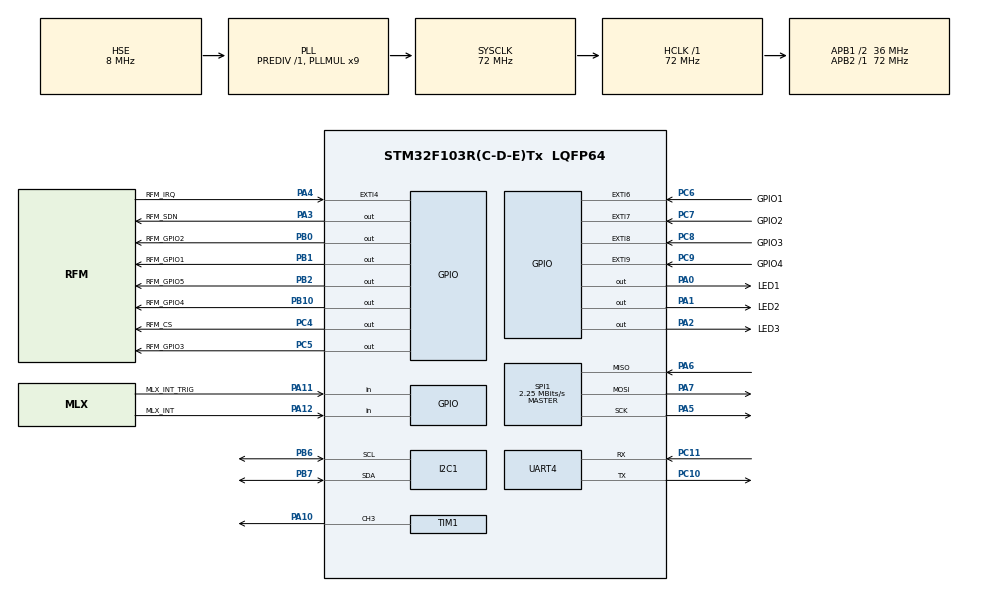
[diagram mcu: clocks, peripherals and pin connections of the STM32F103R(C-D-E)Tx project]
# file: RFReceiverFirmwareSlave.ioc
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I2C1.OwnAddress=0x14
Mcu.Family=STM32F1
Mcu.Name=STM32F103R(C-D-E)Tx
Mcu.Package=LQFP64
NVIC.EXTI4_IRQn=true\:0\:0\:false\:false\:true\:true\:true\:true
NVIC.EXTI9_5_IRQn=true\:0\:0\:false\:false\:true\:true\:true\:true
NVIC.I2C1_ER_IRQn=true\:0\:0\:false\:false\:true\:true\:true\:true
NVIC.I2C1_EV_IRQn=true\:0\:0\:false\:false\:true\:true\:true\:true
NVIC.PriorityGroup=NVIC_PRIORITYGROUP_4
NVIC.TIM2_IRQn=true\:0\:0\:false\:false\:true\:true\:true\:true
NVIC.TIM3_IRQn=true\:0\:0\:false\:false\:true\:true\:true\:true
NVIC.TIM4_IRQn=true\:0\:0\:false\:false\:true\:true\:true\:true
NVIC.TIM5_IRQn=true\:0\:0\:false\:false\:true\:true\:true\:true
PA0-WKUP.GPIO_Label=LED1
PA0-WKUP.Signal=GPIO_Output
PA1.GPIO_Label=LED2
PA1.Signal=GPIO_Output
PA10.Signal=S_TIM1_CH3
PA11.GPIO_Label=MLX_INT_TRIG
PA11.Signal=GPIO_Input
PA12.GPIO_Label=MLX_INT
PA12.Signal=GPIO_Input
PA13.Mode=Trace_Asynchronous_SW
PA13.Signal=SYS_JTMS-SWDIO
PA14.Mode=Trace_Asynchronous_SW
PA14.Signal=SYS_JTCK-SWCLK
PA2.GPIO_Label=LED3
PA2.Signal=GPIO_Output
PA3.GPIO_Label=RFM_SDN
PA3.Signal=GPIO_Output
PA4.GPIO_Label=RFM_IRQ
PA4.Signal=GPXTI4
PA5.Mode=Full_Duplex_Master
PA5.Signal=SPI1_SCK
PA6.Mode=Full_Duplex_Master
PA6.Signal=SPI1_MISO
PA7.Mode=Full_Duplex_Master
PA7.Signal=SPI1_MOSI
PB0.GPIO_Label=RFM_GPIO2
PB0.Signal=GPIO_Output
PB1.GPIO_Label=RFM_GPIO1
PB1.Signal=GPIO_Output
PB10.GPIO_Label=RFM_GPIO4
PB10.Signal=GPIO_Output
PB2.GPIO_Label=RFM_GPIO5
PB2.Signal=GPIO_Output
PB3.Mode=Trace_Asynchronous_SW
PB3.Signal=SYS_JTDO-TRACESWO
PB6.Mode=I2C
PB6.Signal=I2C1_SCL
PB7.Mode=I2C
PB7.Signal=I2C1_SDA
PC10.Mode=Asynchronous
PC10.Signal=UART4_TX
PC11.Mode=Asynchronous
PC11.Signal=UART4_RX
PC4.GPIO_Label=RFM_CS
PC4.Signal=GPIO_Output
PC5.GPIO_Label=RFM_GPIO3
PC5.Signal=GPIO_Output
PC6.GPIO_Label=GPIO1
PC6.Signal=GPXTI6
PC7.GPIO_Label=GPIO2
PC7.Signal=GPXTI7
PC8.GPIO_Label=GPIO3
PC8.Signal=GPXTI8
PC9.GPIO_Label=GPIO4
PC9.Signal=GPXTI9
PD0-OSC_IN.Mode=HSE-External-Oscillator
PD0-OSC_IN.Signal=RCC_OSC_IN
PD1-OSC_OUT.Mode=HSE-External-Oscillator
PD1-OSC_OUT.Signal=RCC_OSC_OUT
ProjectManager.HeapSize=0x200
ProjectManager.StackSize=0x400
ProjectManager.TargetToolchain=STM32CubeIDE
RCC.AHBFreq_Value=72000000
RCC.APB1CLKDivider=RCC_HCLK_DIV2
RCC.APB1Freq_Value=36000000
RCC.APB1TimFreq_Value=72000000
RCC.APB2Freq_Value=72000000
RCC.APB2TimFreq_Value=72000000
RCC.HCLKFreq_Value=72000000
RCC.PLLMUL=RCC_PLL_MUL9
RCC.PLLSourceVirtual=RCC_PLLSOURCE_HSE
RCC.SYSCLKFreq_VALUE=72000000
RCC.SYSCLKSource=RCC_SYSCLKSOURCE_PLLCLK
RCC.USBFreq_Value=72000000
SH.S_TIM1_CH3.0=TIM1_CH3,PWM Generation3 CH3
SPI1.BaudRatePrescaler=SPI_BAUDRATEPRESCALER_32
SPI1.CalculateBaudRate=2.25 MBits/s
SPI1.Direction=SPI_DIRECTION_2LINES
SPI1.Mode=SPI_MODE_MASTER
SPI1.VirtualType=VM_MASTER
TIM1.Channel-PWM\ Generation3\ CH3=TIM_CHANNEL_3
TIM1.Prescaler=900
TIM1.TIM_MasterOutputTrigger=TIM_TRGO_OC1REF
TIM2.Channel-Output\ Compare1\ No\ Output=TIM_CHANNEL_1
TIM2.OCMode_1=TIM_OCMODE_ACTIVE
TIM2.Prescaler=64000
TIM3.Channel-Output\ Compare1\ No\ Output=TIM_CHANNEL_1
TIM3.OCMode_1=TIM_OCMODE_ACTIVE
TIM3.Prescaler=16000
TIM4.Channel-Output\ Compare1\ No\ Output=TIM_CHANNEL_1
TIM4.OCMode_1=TIM_OCMODE_ACTIVE
TIM4.Prescaler=16000
TIM5.Channel-Output\ Compare1\ No\ Output=TIM_CHANNEL_1
TIM5.OCMode_1=TIM_OCMODE_ACTIVE
TIM5.Prescaler=64000
UART4.VirtualMode=Asynchronous
VP_TIM1_VS_ClockSourceINT.Mode=Internal
VP_TIM2_VS_ClockSourceINT.Mode=Internal
VP_TIM2_VS_no_output1.Mode=Output Compare1 No Output
VP_TIM3_VS_ClockSourceINT.Mode=Internal
VP_TIM3_VS_no_output1.Mode=Output Compare1 No Output
VP_TIM4_VS_ClockSourceINT.Mode=Internal
VP_TIM4_VS_no_output1.Mode=Output Compare1 No Output
VP_TIM5_VS_ClockSourceINT.Mode=Internal
VP_TIM5_VS_no_output1.Mode=Output Compare1 No Output
board=custom

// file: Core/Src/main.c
/* USER CODE BEGIN Header */
/**
  ******************************************************************************
  * @file           : main.c
  * @brief          : Main program body
  ******************************************************************************
  * @attention
  *
  * Copyright (c) 2025 STMicroelectronics.
  * All rights reserved.
  *
  * This software is licensed under terms that can be found in the LICENSE file
  * in the root directory of this software component.
  * If no LICENSE file comes with this software, it is provided AS-IS.
  *
  ******************************************************************************
  */
#include "GAUL_drivers/RFM22.h"
#include "GAUL_drivers/Pulse_pin.h"
#include "GAUL_drivers/i2c_lcd.h"
#include "GAUL_drivers/buzzer.h"
#include "stdio.h"
#include <string.h>
/* USER CODE END Header */
#include "main.h"

I2C_HandleTypeDef hi2c1;

SPI_HandleTypeDef hspi1;

TIM_HandleTypeDef htim1;
TIM_HandleTypeDef htim2;
TIM_HandleTypeDef htim3;
TIM_HandleTypeDef htim4;
TIM_HandleTypeDef htim5;

UART_HandleTypeDef huart4;

void SystemClock_Config(void);
static void MX_GPIO_Init(void);
static void MX_I2C1_Init(void);
static void MX_SPI1_Init(void);
static void MX_TIM1_Init(void);
static void MX_TIM2_Init(void);
static void MX_TIM3_Init(void);
static void MX_TIM4_Init(void);
static void MX_TIM5_Init(void);
static void MX_UART4_Init(void);
/* USER CODE BEGIN PFP */
void PUSH_ISR(uint16_t GPIO_pin);
/* USER CODE END PFP */

/* USER CODE BEGIN 0 */

uint8_t rfm22_interrupt_flag = 0;
uint8_t pushbutton_interrupt_flag = 0;
uint8_t pushbutton_pushed[4] = {0};

void HAL_GPIO_EXTI_Callback(uint16_t GPIO_Pin)
{
	if (GPIO_Pin == RFM_IRQ_Pin) rfm22_interrupt_flag = 1;
	if ((GPIO_Pin == GPIO1_Pin) | (GPIO_Pin == GPIO2_Pin) | (GPIO_Pin == GPIO3_Pin) | (GPIO_Pin == GPIO4_Pin)) PUSH_ISR(GPIO_Pin);
}

void PUSH_ISR(uint16_t GPIO_pin)
{
	pushbutton_interrupt_flag = 1;
	pushbutton_pushed[0] |= (GPIO_pin == GPIO1_Pin);
	pushbutton_pushed[1] |= (GPIO_pin == GPIO2_Pin);
	pushbutton_pushed[2] |= (GPIO_pin == GPIO3_Pin);
	pushbutton_pushed[3] |= (GPIO_pin == GPIO4_Pin);

}

void signal_strenght_bar(char *string, int length, float percent)
{
	if (percent > 100) percent = 100;
	int nb_square = percent * length / 100;
	int nb_dash = length - nb_square;

	for (int i = 0; i < nb_square; i++)
	{
		string[i] = '#';
	}
	for (int i = nb_square; i < length; i++)
	{
		string[i] = '-';
	}
}

void print_menu(RFM22 *dev, I2C_LCD_HandleTypeDef *lcd, uint8_t channel, uint8_t rssi, uint8_t ref_rssi, float latitude, float longitude)
{
	char line[20] = {'-'};
	uint32_t freq = RFM22_get_frequency(dev);
	uint16_t MHz = freq /1e6;
	uint16_t kHz = (freq/1000) % 1000;
	uint16_t Hz = freq % 1000;

	float signal_strenght = 100*((float)rssi-(float)ref_rssi)/((float)ref_rssi+1) + 50;

	lcd_clear(lcd);
	lcd_gotoxy(lcd, 0, 0); // ligne 1
	snprintf(line, 21, "CH:%-3u   %3lu.%03lu.%03lu", channel, MHz, kHz, Hz);
	lcd_puts(lcd, line);
	lcd_gotoxy(lcd, 0, 1); // ligne 2
	snprintf(line, 20, "RSSI:%u", rssi);
	lcd_puts(lcd, line);
	lcd_gotoxy(lcd, 0, 2); // ligne 3
	strcpy(line, "GPS");
	lcd_puts(lcd, line);
	lcd_gotoxy(lcd, 0, 3); // ligne 4
	signal_strenght_bar(line, 20, signal_strenght);
	lcd_puts(lcd, line);

}

/* USER CODE END 0 */

int main(void)
{

  /* MCU Configuration--------------------------------------------------------*/

  /* Reset of all peripherals, Initializes the Flash interface and the Systick. */
  HAL_Init();

  /* Configure the system clock */
  SystemClock_Config();

  /* Initialize all configured peripherals */
  MX_GPIO_Init();
  MX_I2C1_Init();
  MX_SPI1_Init();
  MX_TIM1_Init();
  MX_TIM2_Init();
  MX_TIM3_Init();
  MX_TIM4_Init();
  MX_TIM5_Init();
  MX_UART4_Init();
  /* USER CODE BEGIN 2 */
  // init pulsed pins and their respective timers
  Pulse_Pin_Typedef pin1 = PulsePin_init(LED1_GPIO_Port, LED1_Pin, &htim2, TIM_CHANNEL_1);
  Pulse_Pin_Typedef pin2 = PulsePin_init(LED2_GPIO_Port, LED2_Pin, &htim3, TIM_CHANNEL_1);
  Pulse_Pin_Typedef pin3 = PulsePin_init(LED3_GPIO_Port, LED3_Pin, &htim4, TIM_CHANNEL_1);

  // init buzzer and its watch timer
  buzzer_init(&htim1, TIM_CHANNEL_3, &htim5, TIM_CHANNEL_1);

  // init lcd
  I2C_LCD_HandleTypeDef lcd;
  lcd.hi2c = &hi2c1;
  lcd.address = 0x27<<1;
  lcd_init(&lcd);
  lcd_clear(&lcd);

  //init rfm22
  RFM22 rfm22 = {
		  .SPIx = &hspi1,
		  .cs_port = RFM_CS_GPIO_Port,
		  .cs_pin = RFM_CS_Pin,
		  .snd_port = RFM_SDN_GPIO_Port,
		  .snd_pin = RFM_SDN_Pin,
		  .nirq_port = RFM_IRQ_GPIO_Port,
		  .nirq_pin = RFM_IRQ_Pin,
		  .gpio_port_1 = RFM_GPIO1_GPIO_Port,
		  .gpio_pin_1 = RFM_GPIO1_Pin,
		  .gpio_port_2 = RFM_GPIO2_GPIO_Port,
		  .gpio_pin_2 = RFM_GPIO2_Pin,
		  .gpio_port_3 = RFM_GPIO3_GPIO_Port,
		  .gpio_pin_3 = RFM_GPIO3_Pin
  };

  RFM22_init(&rfm22, &rfm22_confs);
  uint8_t channel = 0;

  // config du slave
#ifdef RECEIVE
  HAL_I2C_EnableListen_IT(&hi2c1);
#endif

  /* USER CODE END 2 */

  /* Infinite loop */
  /* USER CODE BEGIN WHILE */

  //global vars
  RFM22_channel(&rfm22, channel);
  print_menu(&rfm22, &lcd, 0, 0, 0, 0, 0);
  const char* packet_str = "VE2VQW";
  uint8_t packet[8];
  memcpy(packet,packet_str, 6);    // copy packet_str to packet without '\0'
  uint8_t rssi = 0;
  uint8_t ref_rssi = 0;
  uint32_t freq;
  float latitude = 0;
  float longitude = 0;
  uint8_t spi_rx[1] = {0};

  while (1)
  {
    /* USER CODE END WHILE */

    /* USER CODE BEGIN 3 */

#ifdef TRANSMIT
	  RFM22_transmit(&rfm22, packet, 8);
	  uint32_t tick = HAL_GetTick();
	  while (HAL_GetTick() - tick < 1000);
#endif

#ifdef RECEIVE
	  RFM22_SPI_read(&rfm22, RH_RF22_REG_07_OPERATING_MODE1, spi_rx, 1);
	  if (!(spi_rx[0] & RH_RF22_RXON))
	  {
		  RFM22_rx_mode(&rfm22);
      }
#endif

	  //handle rfm22 interrupts
	  if (rfm22_interrupt_flag || (!HAL_GPIO_ReadPin(RFM_IRQ_GPIO_Port, RFM_IRQ_Pin)))
#ifdef TRANSMIT
	  {
		  rfm22_interrupt_flag = 0;
		  uint8_t interrupts[] = {0, 0};
		  RFM22_SPI_read(&rfm22, RH_RF22_REG_03_INTERRUPT_STATUS1, interrupts, 2);

		  //pk sent interrupt
		  if (interrupts[0] & RH_RF22_IPKSENT)
		  {
			  PulsePin(pin1, 100);
		  }

		  //tx FIFO full
		  if (interrupts[0 & RH_RF22_ITXFFAFULL])
		  {
			  RFM22_clr_tx_FIFO(&rfm22);
		  }
	  }
#endif

#ifdef RECEIVE
	  {
		  rfm22_interrupt_flag = 0;
		  uint8_t interrupts[] = {0, 0};
		  RFM22_SPI_read(&rfm22, RH_RF22_REG_03_INTERRUPT_STATUS1, interrupts, 2);

		  //pk received
		  if (interrupts[0] & RH_RF22_IPKVALID)
		  {
			  PulsePin(pin1, 100);
			  uint8_t lenght = RFM22_available(&rfm22);

			  // GPS routine
			  rssi = RFM22_get_RSSI(&rfm22);
			  RFM22_read_rx(&rfm22, packet, 8);
			  latitude = 0; // à vérifier, supposé transformer en float direct
			  longitude = 0;

			  // rssi routine
			  int16_t rssi_dif = rssi - ref_rssi;
			  freq = 3000 + 200*rssi_dif;
			  buzzer_start(freq, 200);
			  print_menu(&rfm22, &lcd, channel, rssi, ref_rssi, latitude, longitude);
		  }

		  //rx FIFO full
		  if (interrupts[0] & RH_RF22_IRXFFAFULL)
		  {
			  //read last received
			  //RFM22_clr_rx_FIFO(&rfm22);
			  PulsePin(pin3, 100);
		  }

		  //valid preamble
		  if (interrupts[1] & RH_RF22_IPREAVAL)
		  {
		  }

		  //inval preamble
		  if (interrupts[1] & RH_RF22_IPREAINVAL)
		  {
			  PulsePin(pin2, 100);
		  }
	  }

	  if (pushbutton_interrupt_flag)
	  {
		  pushbutton_interrupt_flag = 0;

		  if (pushbutton_pushed[0]) // channel up
		  {
			  channel++;
			  RFM22_channel(&rfm22, channel);
			  print_menu(&rfm22, &lcd, channel, rssi, ref_rssi, latitude, longitude);
		  }
		  if (pushbutton_pushed[1]) // channel down
		  {
			  channel--;
			  RFM22_channel(&rfm22, channel);
			  print_menu(&rfm22, &lcd, channel, rssi, ref_rssi, latitude, longitude);
		  }
		  if (pushbutton_pushed[2]) // zero
		  {
			  ref_rssi = rssi;
		  }
		  if (pushbutton_pushed[3])
		  {

		  }

		  pushbutton_pushed[0] = 0;
		  pushbutton_pushed[1] = 0;
		  pushbutton_pushed[2] = 0;
		  pushbutton_pushed[3] = 0;
	  }
#endif
  }
  /* USER CODE END 3 */
}

void SystemClock_Config(void)
{
  RCC_OscInitTypeDef RCC_OscInitStruct = {0};
  RCC_ClkInitTypeDef RCC_ClkInitStruct = {0};

  /** Initializes the RCC Oscillators according to the specified parameters
  * in the RCC_OscInitTypeDef structure.
  */
  RCC_OscInitStruct.OscillatorType = RCC_OSCILLATORTYPE_HSE;
  RCC_OscInitStruct.HSEState = RCC_HSE_ON;
  RCC_OscInitStruct.HSEPredivValue = RCC_HSE_PREDIV_DIV1;
  RCC_OscInitStruct.HSIState = RCC_HSI_ON;
  RCC_OscInitStruct.PLL.PLLState = RCC_PLL_ON;
  RCC_OscInitStruct.PLL.PLLSource = RCC_PLLSOURCE_HSE;
  RCC_OscInitStruct.PLL.PLLMUL = RCC_PLL_MUL9;
  if (HAL_RCC_OscConfig(&RCC_OscInitStruct) != HAL_OK)
  {
    Error_Handler();
  }

  /** Initializes the CPU, AHB and APB buses clocks
  */
  RCC_ClkInitStruct.ClockType = RCC_CLOCKTYPE_HCLK|RCC_CLOCKTYPE_SYSCLK
                              |RCC_CLOCKTYPE_PCLK1|RCC_CLOCKTYPE_PCLK2;
  RCC_ClkInitStruct.SYSCLKSource = RCC_SYSCLKSOURCE_PLLCLK;
  RCC_ClkInitStruct.AHBCLKDivider = RCC_SYSCLK_DIV1;
  RCC_ClkInitStruct.APB1CLKDivider = RCC_HCLK_DIV2;
  RCC_ClkInitStruct.APB2CLKDivider = RCC_HCLK_DIV1;

  if (HAL_RCC_ClockConfig(&RCC_ClkInitStruct, FLASH_LATENCY_2) != HAL_OK)
  {
    Error_Handler();
  }
}

static void MX_I2C1_Init(void)
{

  hi2c1.Instance = I2C1;
  hi2c1.Init.ClockSpeed = 100000;
  hi2c1.Init.DutyCycle = I2C_DUTYCYCLE_2;
  hi2c1.Init.OwnAddress1 = 40;
  hi2c1.Init.AddressingMode = I2C_ADDRESSINGMODE_7BIT;
  hi2c1.Init.DualAddressMode = I2C_DUALADDRESS_DISABLE;
  hi2c1.Init.OwnAddress2 = 0;
  hi2c1.Init.GeneralCallMode = I2C_GENERALCALL_DISABLE;
  hi2c1.Init.NoStretchMode = I2C_NOSTRETCH_DISABLE;
  if (HAL_I2C_Init(&hi2c1) != HAL_OK)
  {
    Error_Handler();
  }

}

static void MX_SPI1_Init(void)
{

  /* SPI1 parameter configuration*/
  hspi1.Instance = SPI1;
  hspi1.Init.Mode = SPI_MODE_MASTER;
  hspi1.Init.Direction = SPI_DIRECTION_2LINES;
  hspi1.Init.DataSize = SPI_DATASIZE_8BIT;
  hspi1.Init.CLKPolarity = SPI_POLARITY_LOW;
  hspi1.Init.CLKPhase = SPI_PHASE_1EDGE;
  hspi1.Init.NSS = SPI_NSS_SOFT;
  hspi1.Init.BaudRatePrescaler = SPI_BAUDRATEPRESCALER_32;
  hspi1.Init.FirstBit = SPI_FIRSTBIT_MSB;
  hspi1.Init.TIMode = SPI_TIMODE_DISABLE;
  hspi1.Init.CRCCalculation = SPI_CRCCALCULATION_DISABLE;
  hspi1.Init.CRCPolynomial = 10;
  if (HAL_SPI_Init(&hspi1) != HAL_OK)
  {
    Error_Handler();
  }

}

static void MX_TIM1_Init(void)
{

  TIM_ClockConfigTypeDef sClockSourceConfig = {0};
  TIM_MasterConfigTypeDef sMasterConfig = {0};
  TIM_OC_InitTypeDef sConfigOC = {0};
  TIM_BreakDeadTimeConfigTypeDef sBreakDeadTimeConfig = {0};

  htim1.Instance = TIM1;
  htim1.Init.Prescaler = 900;
  htim1.Init.CounterMode = TIM_COUNTERMODE_UP;
  htim1.Init.Period = 65535;
  htim1.Init.ClockDivision = TIM_CLOCKDIVISION_DIV1;
  htim1.Init.RepetitionCounter = 0;
  htim1.Init.AutoReloadPreload = TIM_AUTORELOAD_PRELOAD_DISABLE;
  if (HAL_TIM_Base_Init(&htim1) != HAL_OK)
  {
    Error_Handler();
  }
  sClockSourceConfig.ClockSource = TIM_CLOCKSOURCE_INTERNAL;
  if (HAL_TIM_ConfigClockSource(&htim1, &sClockSourceConfig) != HAL_OK)
  {
    Error_Handler();
  }
  if (HAL_TIM_PWM_Init(&htim1) != HAL_OK)
  {
    Error_Handler();
  }
  sMasterConfig.MasterOutputTrigger = TIM_TRGO_OC1REF;
  sMasterConfig.MasterSlaveMode = TIM_MASTERSLAVEMODE_DISABLE;
  if (HAL_TIMEx_MasterConfigSynchronization(&htim1, &sMasterConfig) != HAL_OK)
  {
    Error_Handler();
  }
  sConfigOC.OCMode = TIM_OCMODE_PWM1;
  sConfigOC.Pulse = 0;
  sConfigOC.OCPolarity = TIM_OCPOLARITY_HIGH;
  sConfigOC.OCNPolarity = TIM_OCNPOLARITY_HIGH;
  sConfigOC.OCFastMode = TIM_OCFAST_DISABLE;
  sConfigOC.OCIdleState = TIM_OCIDLESTATE_RESET;
  sConfigOC.OCNIdleState = TIM_OCNIDLESTATE_RESET;
  if (HAL_TIM_PWM_ConfigChannel(&htim1, &sConfigOC, TIM_CHANNEL_3) != HAL_OK)
  {
    Error_Handler();
  }
  sBreakDeadTimeConfig.OffStateRunMode = TIM_OSSR_DISABLE;
  sBreakDeadTimeConfig.OffStateIDLEMode = TIM_OSSI_DISABLE;
  sBreakDeadTimeConfig.LockLevel = TIM_LOCKLEVEL_OFF;
  sBreakDeadTimeConfig.DeadTime = 0;
  sBreakDeadTimeConfig.BreakState = TIM_BREAK_DISABLE;
  sBreakDeadTimeConfig.BreakPolarity = TIM_BREAKPOLARITY_HIGH;
  sBreakDeadTimeConfig.AutomaticOutput = TIM_AUTOMATICOUTPUT_DISABLE;
  if (HAL_TIMEx_ConfigBreakDeadTime(&htim1, &sBreakDeadTimeConfig) != HAL_OK)
  {
    Error_Handler();
  }
  HAL_TIM_MspPostInit(&htim1);

}

static void MX_TIM2_Init(void)
{

  TIM_ClockConfigTypeDef sClockSourceConfig = {0};
  TIM_MasterConfigTypeDef sMasterConfig = {0};
  TIM_OC_InitTypeDef sConfigOC = {0};

  htim2.Instance = TIM2;
  htim2.Init.Prescaler = 64000;
  htim2.Init.CounterMode = TIM_COUNTERMODE_UP;
  htim2.Init.Period = 65535;
  htim2.Init.ClockDivision = TIM_CLOCKDIVISION_DIV1;
  htim2.Init.AutoReloadPreload = TIM_AUTORELOAD_PRELOAD_DISABLE;
  if (HAL_TIM_Base_Init(&htim2) != HAL_OK)
  {
    Error_Handler();
  }
  sClockSourceConfig.ClockSource = TIM_CLOCKSOURCE_INTERNAL;
  if (HAL_TIM_ConfigClockSource(&htim2, &sClockSourceConfig) != HAL_OK)
  {
    Error_Handler();
  }
  if (HAL_TIM_OC_Init(&htim2) != HAL_OK)
  {
    Error_Handler();
  }
  sMasterConfig.MasterOutputTrigger = TIM_TRGO_RESET;
  sMasterConfig.MasterSlaveMode = TIM_MASTERSLAVEMODE_DISABLE;
  if (HAL_TIMEx_MasterConfigSynchronization(&htim2, &sMasterConfig) != HAL_OK)
  {
    Error_Handler();
  }
  sConfigOC.OCMode = TIM_OCMODE_ACTIVE;
  sConfigOC.Pulse = 0;
  sConfigOC.OCPolarity = TIM_OCPOLARITY_HIGH;
  sConfigOC.OCFastMode = TIM_OCFAST_DISABLE;
  if (HAL_TIM_OC_ConfigChannel(&htim2, &sConfigOC, TIM_CHANNEL_1) != HAL_OK)
  {
    Error_Handler();
  }

}

static void MX_TIM3_Init(void)
{

  TIM_ClockConfigTypeDef sClockSourceConfig = {0};
  TIM_MasterConfigTypeDef sMasterConfig = {0};
  TIM_OC_InitTypeDef sConfigOC = {0};

  htim3.Instance = TIM3;
  htim3.Init.Prescaler = 16000;
  htim3.Init.CounterMode = TIM_COUNTERMODE_UP;
  htim3.Init.Period = 65535;
  htim3.Init.ClockDivision = TIM_CLOCKDIVISION_DIV1;
  htim3.Init.AutoReloadPreload = TIM_AUTORELOAD_PRELOAD_DISABLE;
  if (HAL_TIM_Base_Init(&htim3) != HAL_OK)
  {
    Error_Handler();
  }
  sClockSourceConfig.ClockSource = TIM_CLOCKSOURCE_INTERNAL;
  if (HAL_TIM_ConfigClockSource(&htim3, &sClockSourceConfig) != HAL_OK)
  {
    Error_Handler();
  }
  if (HAL_TIM_OC_Init(&htim3) != HAL_OK)
  {
    Error_Handler();
  }
  sMasterConfig.MasterOutputTrigger = TIM_TRGO_RESET;
  sMasterConfig.MasterSlaveMode = TIM_MASTERSLAVEMODE_DISABLE;
  if (HAL_TIMEx_MasterConfigSynchronization(&htim3, &sMasterConfig) != HAL_OK)
  {
    Error_Handler();
  }
  sConfigOC.OCMode = TIM_OCMODE_ACTIVE;
  sConfigOC.Pulse = 0;
  sConfigOC.OCPolarity = TIM_OCPOLARITY_HIGH;
  sConfigOC.OCFastMode = TIM_OCFAST_DISABLE;
  if (HAL_TIM_OC_ConfigChannel(&htim3, &sConfigOC, TIM_CHANNEL_1) != HAL_OK)
  {
    Error_Handler();
  }

}

static void MX_TIM4_Init(void)
{

  TIM_ClockConfigTypeDef sClockSourceConfig = {0};
  TIM_MasterConfigTypeDef sMasterConfig = {0};
  TIM_OC_InitTypeDef sConfigOC = {0};

  htim4.Instance = TIM4;
  htim4.Init.Prescaler = 16000;
  htim4.Init.CounterMode = TIM_COUNTERMODE_UP;
  htim4.Init.Period = 65535;
  htim4.Init.ClockDivision = TIM_CLOCKDIVISION_DIV1;
  htim4.Init.AutoReloadPreload = TIM_AUTORELOAD_PRELOAD_DISABLE;
  if (HAL_TIM_Base_Init(&htim4) != HAL_OK)
  {
    Error_Handler();
  }
  sClockSourceConfig.ClockSource = TIM_CLOCKSOURCE_INTERNAL;
  if (HAL_TIM_ConfigClockSource(&htim4, &sClockSourceConfig) != HAL_OK)
  {
    Error_Handler();
  }
  if (HAL_TIM_OC_Init(&htim4) != HAL_OK)
  {
    Error_Handler();
  }
  sMasterConfig.MasterOutputTrigger = TIM_TRGO_RESET;
  sMasterConfig.MasterSlaveMode = TIM_MASTERSLAVEMODE_DISABLE;
  if (HAL_TIMEx_MasterConfigSynchronization(&htim4, &sMasterConfig) != HAL_OK)
  {
    Error_Handler();
  }
  sConfigOC.OCMode = TIM_OCMODE_ACTIVE;
  sConfigOC.Pulse = 0;
  sConfigOC.OCPolarity = TIM_OCPOLARITY_HIGH;
  sConfigOC.OCFastMode = TIM_OCFAST_DISABLE;
  if (HAL_TIM_OC_ConfigChannel(&htim4, &sConfigOC, TIM_CHANNEL_1) != HAL_OK)
  {
    Error_Handler();
  }

}

static void MX_TIM5_Init(void)
{

  TIM_ClockConfigTypeDef sClockSourceConfig = {0};
  TIM_MasterConfigTypeDef sMasterConfig = {0};
  TIM_OC_InitTypeDef sConfigOC = {0};

  htim5.Instance = TIM5;
  htim5.Init.Prescaler = 64000;
  htim5.Init.CounterMode = TIM_COUNTERMODE_UP;
  htim5.Init.Period = 65535;
  htim5.Init.ClockDivision = TIM_CLOCKDIVISION_DIV1;
  htim5.Init.AutoReloadPreload = TIM_AUTORELOAD_PRELOAD_DISABLE;
  if (HAL_TIM_Base_Init(&htim5) != HAL_OK)
  {
    Error_Handler();
  }
  sClockSourceConfig.ClockSource = TIM_CLOCKSOURCE_INTERNAL;
  if (HAL_TIM_ConfigClockSource(&htim5, &sClockSourceConfig) != HAL_OK)
  {
    Error_Handler();
  }
  if (HAL_TIM_OC_Init(&htim5) != HAL_OK)
  {
    Error_Handler();
  }
  sMasterConfig.MasterOutputTrigger = TIM_TRGO_RESET;
  sMasterConfig.MasterSlaveMode = TIM_MASTERSLAVEMODE_DISABLE;
  if (HAL_TIMEx_MasterConfigSynchronization(&htim5, &sMasterConfig) != HAL_OK)
  {
    Error_Handler();
  }
  sConfigOC.OCMode = TIM_OCMODE_ACTIVE;
  sConfigOC.Pulse = 0;
  sConfigOC.OCPolarity = TIM_OCPOLARITY_HIGH;
  sConfigOC.OCFastMode = TIM_OCFAST_DISABLE;
  if (HAL_TIM_OC_ConfigChannel(&htim5, &sConfigOC, TIM_CHANNEL_1) != HAL_OK)
  {
    Error_Handler();
  }

}

static void MX_UART4_Init(void)
{

  huart4.Instance = UART4;
  huart4.Init.BaudRate = 115200;
  huart4.Init.WordLength = UART_WORDLENGTH_8B;
  huart4.Init.StopBits = UART_STOPBITS_1;
  huart4.Init.Parity = UART_PARITY_NONE;
  huart4.Init.Mode = UART_MODE_TX_RX;
  huart4.Init.HwFlowCtl = UART_HWCONTROL_NONE;
  huart4.Init.OverSampling = UART_OVERSAMPLING_16;
  if (HAL_UART_Init(&huart4) != HAL_OK)
  {
    Error_Handler();
  }

}

static void MX_GPIO_Init(void)
{
  GPIO_InitTypeDef GPIO_InitStruct = {0};

  /* GPIO Ports Clock Enable */
  __HAL_RCC_GPIOD_CLK_ENABLE();
  __HAL_RCC_GPIOA_CLK_ENABLE();
  __HAL_RCC_GPIOC_CLK_ENABLE();
  __HAL_RCC_GPIOB_CLK_ENABLE();

  /*Configure GPIO pin Output Level */
  HAL_GPIO_WritePin(GPIOA, LED1_Pin|LED2_Pin|LED3_Pin|RFM_SDN_Pin, GPIO_PIN_RESET);

  /*Configure GPIO pin Output Level */
  HAL_GPIO_WritePin(GPIOC, RFM_CS_Pin|RFM_GPIO3_Pin, GPIO_PIN_RESET);

  /*Configure GPIO pin Output Level */
  HAL_GPIO_WritePin(GPIOB, RFM_GPIO2_Pin|RFM_GPIO1_Pin|RFM_GPIO5_Pin|RFM_GPIO4_Pin, GPIO_PIN_RESET);

  /*Configure GPIO pins : LED1_Pin LED2_Pin LED3_Pin RFM_SDN_Pin */
  GPIO_InitStruct.Pin = LED1_Pin|LED2_Pin|LED3_Pin|RFM_SDN_Pin;
  GPIO_InitStruct.Mode = GPIO_MODE_OUTPUT_PP;
  GPIO_InitStruct.Pull = GPIO_NOPULL;
  GPIO_InitStruct.Speed = GPIO_SPEED_FREQ_LOW;
  HAL_GPIO_Init(GPIOA, &GPIO_InitStruct);

  /*Configure GPIO pin : RFM_IRQ_Pin */
  GPIO_InitStruct.Pin = RFM_IRQ_Pin;
  GPIO_InitStruct.Mode = GPIO_MODE_IT_RISING;
  GPIO_InitStruct.Pull = GPIO_NOPULL;
  HAL_GPIO_Init(RFM_IRQ_GPIO_Port, &GPIO_InitStruct);

  /*Configure GPIO pins : RFM_CS_Pin RFM_GPIO3_Pin */
  GPIO_InitStruct.Pin = RFM_CS_Pin|RFM_GPIO3_Pin;
  GPIO_InitStruct.Mode = GPIO_MODE_OUTPUT_PP;
  GPIO_InitStruct.Pull = GPIO_NOPULL;
  GPIO_InitStruct.Speed = GPIO_SPEED_FREQ_LOW;
  HAL_GPIO_Init(GPIOC, &GPIO_InitStruct);

  /*Configure GPIO pins : RFM_GPIO2_Pin RFM_GPIO1_Pin RFM_GPIO5_Pin RFM_GPIO4_Pin */
  GPIO_InitStruct.Pin = RFM_GPIO2_Pin|RFM_GPIO1_Pin|RFM_GPIO5_Pin|RFM_GPIO4_Pin;
  GPIO_InitStruct.Mode = GPIO_MODE_OUTPUT_PP;
  GPIO_InitStruct.Pull = GPIO_NOPULL;
  GPIO_InitStruct.Speed = GPIO_SPEED_FREQ_LOW;
  HAL_GPIO_Init(GPIOB, &GPIO_InitStruct);

  /*Configure GPIO pins : GPIO1_Pin GPIO2_Pin GPIO3_Pin GPIO4_Pin */
  GPIO_InitStruct.Pin = GPIO1_Pin|GPIO2_Pin|GPIO3_Pin|GPIO4_Pin;
  GPIO_InitStruct.Mode = GPIO_MODE_IT_RISING;
  GPIO_InitStruct.Pull = GPIO_NOPULL;
  HAL_GPIO_Init(GPIOC, &GPIO_InitStruct);

  /*Configure GPIO pins : MLX_INT_TRIG_Pin MLX_INT_Pin */
  GPIO_InitStruct.Pin = MLX_INT_TRIG_Pin|MLX_INT_Pin;
  GPIO_InitStruct.Mode = GPIO_MODE_INPUT;
  GPIO_InitStruct.Pull = GPIO_NOPULL;
  HAL_GPIO_Init(GPIOA, &GPIO_InitStruct);

  /* EXTI interrupt init*/
  HAL_NVIC_SetPriority(EXTI4_IRQn, 0, 0);
  HAL_NVIC_EnableIRQ(EXTI4_IRQn);

  HAL_NVIC_SetPriority(EXTI9_5_IRQn, 0, 0);
  HAL_NVIC_EnableIRQ(EXTI9_5_IRQn);

}

void Error_Handler(void)
{
  __disable_irq();
  while (1)
  {
  }
}
